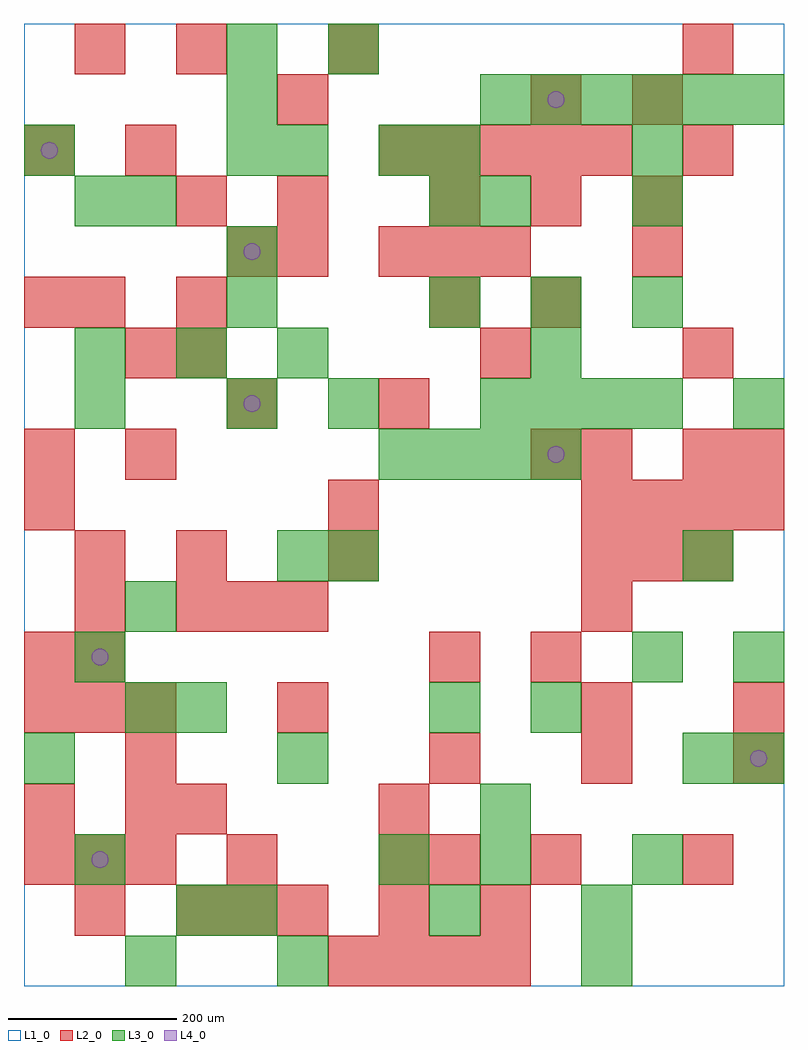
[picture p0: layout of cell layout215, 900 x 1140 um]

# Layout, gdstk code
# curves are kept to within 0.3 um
import gdstk
lib = gdstk.Library(unit=1e-6, precision=1e-09)
def R(c, l, rs):  # rectangles x0, y0, x1, y1
    for r in rs: c.add(gdstk.rectangle(r[:2], r[2:], *l))
def A(c, l, x, y, w, h, nx, ny, dx, dy):  # array of equal rectangles
    R(c, l, [(x+i*dx, y+j*dy, x+i*dx+w, y+j*dy+h) for i in range(nx) for j in range(ny)])
def P(c, l, *ps):  # polygons
    for p in ps: c.add(gdstk.Polygon(p, *l))
L1_0 = (1, 0)
L2_0 = (2, 0)
L3_0 = (3, 0)
L4_0 = (4, 0)

layout215 = lib.new_cell('layout215')
R(layout215, L1_0, [(0,0,900,1140)])
A(layout215, L2_0, 360, 0, 60, 60, 4, 1, 60, 0)
A(layout215, L2_0, 180, 60, 60, 60, 3, 2, 60, 360)
A(layout215, L2_0, 420, 60, 60, 60, 1, 3, 0, 60)
A(layout215, L2_0, 0, 120, 60, 60, 3, 2, 60, 180)
A(layout215, L2_0, 600, 120, 60, 60, 1, 3, 0, 240)
A(layout215, L2_0, 0, 180, 60, 60, 1, 3, 0, 180)
A(layout215, L2_0, 480, 240, 60, 60, 3, 1, 180, 0)
A(layout215, L2_0, 60, 360, 60, 60, 1, 3, 0, 60)
A(layout215, L2_0, 660, 480, 60, 60, 3, 1, 60, 0)
A(layout215, L2_0, 660, 540, 60, 60, 4, 1, 60, 0)
A(layout215, L2_0, 0, 600, 60, 60, 1, 3, 0, 180)
A(layout215, L2_0, 420, 840, 60, 60, 3, 1, 60, 0)
A(layout215, L2_0, 480, 900, 60, 60, 3, 1, 120, 0)
A(layout215, L2_0, 420, 960, 60, 60, 5, 1, 60, 0)
R(layout215, L2_0, [(60,60,120,120), (540,60,600,120), (240,120,300,180), (480,120,540,180), (780,120,840,180), (120,180,180,240), (180,180,240,240), (120,240,180,300), (300,300,360,360), (660,300,720,360), (840,300,900,360), (480,360,540,420), (660,420,720,480), (180,480,240,540), (360,480,420,540), (360,540,420,600), (120,600,180,660), (660,600,720,660), (780,600,840,660), (840,600,900,660), (240,660,300,720), (420,660,480,720), (120,720,180,780), (180,720,240,780), (540,720,600,780), (780,720,840,780), (60,780,120,840), (180,780,240,840), (480,780,540,840), (600,780,660,840), (240,840,300,900), (300,840,360,900), (720,840,780,900), (180,900,240,960), (300,900,360,960), (120,960,180,1020), (780,960,840,1020), (300,1020,360,1080), (600,1020,660,1080), (720,1020,780,1080), (60,1080,120,1140), (180,1080,240,1140), (360,1080,420,1140), (780,1080,840,1140)])
A(layout215, L3_0, 300, 0, 60, 60, 1, 3, 0, 240)
A(layout215, L3_0, 420, 600, 60, 60, 4, 1, 60, 0)
A(layout215, L3_0, 540, 660, 60, 60, 4, 1, 60, 0)
A(layout215, L3_0, 60, 720, 60, 60, 3, 1, 120, 0)
A(layout215, L3_0, 480, 780, 60, 60, 3, 1, 120, 0)
A(layout215, L3_0, 240, 960, 60, 60, 1, 3, 0, 60)
A(layout215, L3_0, 540, 1020, 60, 60, 6, 1, 60, 0)
R(layout215, L3_0, [(120,0,180,60), (660,0,720,60), (180,60,240,120), (240,60,300,120), (480,60,540,120), (660,60,720,120), (60,120,120,180), (420,120,480,180), (540,120,600,180), (720,120,780,180), (540,180,600,240), (0,240,60,300), (780,240,840,300), (840,240,900,300), (120,300,180,360), (180,300,240,360), (480,300,540,360), (600,300,660,360), (60,360,120,420), (720,360,780,420), (840,360,900,420), (120,420,180,480), (360,480,420,540), (780,480,840,540), (60,660,120,720), (240,660,300,720), (360,660,420,720), (840,660,900,720), (600,720,660,780), (240,780,300,840), (240,840,300,900), (60,900,120,960), (120,900,180,960), (480,900,540,960), (540,900,600,960), (720,900,780,960), (0,960,60,1020), (300,960,360,1020), (420,960,480,1020), (480,960,540,1020), (720,960,780,1020), (360,1080,420,1140)])
P(layout215, L4_0, [(40,990),(39.239,993.827),(37.071,997.071),(33.827,999.239),(30,1000),(26.173,999.239),(22.929,997.071),(20.761,993.827),(20,990),(20.761,986.173),(22.929,982.929),(26.173,980.761),(30,980),(33.827,980.761),(37.071,982.929),(39.239,986.173)],
  [(100,150),(99.239,153.827),(97.071,157.071),(93.827,159.239),(90,160),(86.173,159.239),(82.929,157.071),(80.761,153.827),(80,150),(80.761,146.173),(82.929,142.929),(86.173,140.761),(90,140),(93.827,140.761),(97.071,142.929),(99.239,146.173)],
  [(100,390),(99.239,393.827),(97.071,397.071),(93.827,399.239),(90,400),(86.173,399.239),(82.929,397.071),(80.761,393.827),(80,390),(80.761,386.173),(82.929,382.929),(86.173,380.761),(90,380),(93.827,380.761),(97.071,382.929),(99.239,386.173)],
  [(280,690),(279.239,693.827),(277.071,697.071),(273.827,699.239),(270,700),(266.173,699.239),(262.929,697.071),(260.761,693.827),(260,690),(260.761,686.173),(262.929,682.929),(266.173,680.761),(270,680),(273.827,680.761),(277.071,682.929),(279.239,686.173)],
  [(280,870),(279.239,873.827),(277.071,877.071),(273.827,879.239),(270,880),(266.173,879.239),(262.929,877.071),(260.761,873.827),(260,870),(260.761,866.173),(262.929,862.929),(266.173,860.761),(270,860),(273.827,860.761),(277.071,862.929),(279.239,866.173)],
  [(640,630),(639.239,633.827),(637.071,637.071),(633.827,639.239),(630,640),(626.173,639.239),(622.929,637.071),(620.761,633.827),(620,630),(620.761,626.173),(622.929,622.929),(626.173,620.761),(630,620),(633.827,620.761),(637.071,622.929),(639.239,626.173)],
  [(640,1050),(639.239,1053.827),(637.071,1057.071),(633.827,1059.239),(630,1060),(626.173,1059.239),(622.929,1057.071),(620.761,1053.827),(620,1050),(620.761,1046.173),(622.929,1042.929),(626.173,1040.761),(630,1040),(633.827,1040.761),(637.071,1042.929),(639.239,1046.173)],
  [(880,270),(879.239,273.827),(877.071,277.071),(873.827,279.239),(870,280),(866.173,279.239),(862.929,277.071),(860.761,273.827),(860,270),(860.761,266.173),(862.929,262.929),(866.173,260.761),(870,260),(873.827,260.761),(877.071,262.929),(879.239,266.173)])

lib.write_gds('layout215.gds')
